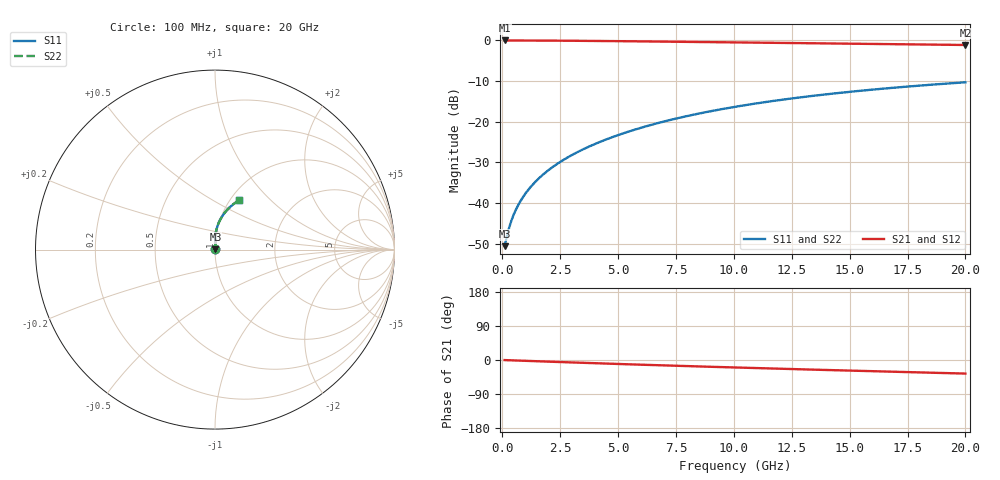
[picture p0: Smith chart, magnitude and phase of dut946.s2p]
! Touchstone file exported from HFSS 2024.1.0
!  File:  C:/UserFiles/LocalFiles/RDL_TSV_Batchsim/temp_RDL_bottom_946_1779942011.aedt
!  Generated:  12:22:47 PM May 28, 2026
!  Design:  RDL_bottom
!  Project:  temp_RDL_bottom_946_1779942011
!  Setup:  Setup1
!  Solution:  Sweep
! Variables:
!  dtsv = 10.80580581um
!  hbump = 3um
!  htsv = 96.17um
!  ldown = 500.84um
!  lrdl = 100um
!  p = 40
!  p1 = 53.47um
!  rhole = 1um
!  t = 450um
!  tdown = 2.83um
!  trdl = 3.915915916um
!  wdown = 27.79um
!  wrdl = 20um
# GHz S MA R 50.000000
! Terminal data exported
! Port[1] = RDL1_T1
! Port[2] = RDL1_T2
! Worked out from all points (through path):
!   200 points, 100 MHz to 20 GHz, reference 50 ohm
!   highest |S21| = -0.02 dB at 100 MHz (marker M1); lowest = -1.1 dB at 20 GHz (marker M2)
!   group delay of S21, straight-line fit = 4.91 ps
!   lowest |S11| = -50.6 dB at 100 MHz (marker M3), VSWR 1.01, Z = 50.3 + j0.145 ohm
!   |S11| at or under -10 dB: start of sweep to end of sweep
!   |S22| runs from -50.6 to -10.3 dB; largest |S21 - S12| = 2.7e-15
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0.1  0.002935 29.5  0.9974 -0.2  0.9974 -0.2  0.002935 29.5
! Gamma 0 0 0 0
! Port Impedance 50 0 50 0
0.2  0.003894 46.6  0.9973 -0.5  0.9973 -0.5  0.003894 46.6
0.3  0.005001 55.7  0.9971 -0.7  0.9971 -0.7  0.005001 55.8
0.4  0.006131 61.4  0.9969 -0.9  0.9969 -0.9  0.006131 61.4
0.5  0.007261 65.5  0.9967 -1.1  0.9967 -1.1  0.007261 65.5
0.6  0.008395 68.5  0.9965 -1.3  0.9965 -1.3  0.008395 68.5
0.8  0.01069 73.1  0.9961 -1.8  0.9961 -1.8  0.01069 73.1
1  0.01303 76.3  0.9958 -2.2  0.9958 -2.2  0.01303 76.3
1.2  0.01542 78.7  0.9953 -2.6  0.9953 -2.6  0.01542 78.7
1.7  0.02157 82.6  0.9941 -3.7  0.9941 -3.7  0.02157 82.6
2.2  0.02797 85.0  0.9924 -4.8  0.9924 -4.8  0.02798 85.0
2.8  0.03598 86.7  0.99 -6.0  0.99 -6.0  0.03599 86.8
3.5  0.04577 87.9  0.9867 -7.5  0.9867 -7.5  0.04578 87.9
4.2  0.05603 88.4  0.9829 -8.9  0.9829 -8.9  0.05605 88.4
5  0.06827 88.4  0.9781 -10.5  0.9781 -10.5  0.0683 88.5
6.8  0.09735 87.0  0.9664 -13.9  0.9664 -13.9  0.0974 87.0
8.4  0.1242 84.7  0.9555 -16.9  0.9555 -16.9  0.1243 84.8
10.1  0.153 81.9  0.9438 -19.8  0.9438 -19.8  0.1531 81.9
11.7  0.1797 78.9  0.9328 -22.6  0.9328 -22.6  0.1799 79.0
13.4  0.2075 75.8  0.9214 -25.4  0.9214 -25.4  0.2077 75.8
16.7  0.2584 69.7  0.8993 -30.7  0.8993 -30.7  0.2587 69.8
20  0.3049 63.9  0.8775 -35.8  0.8775 -35.8  0.3052 64.0
